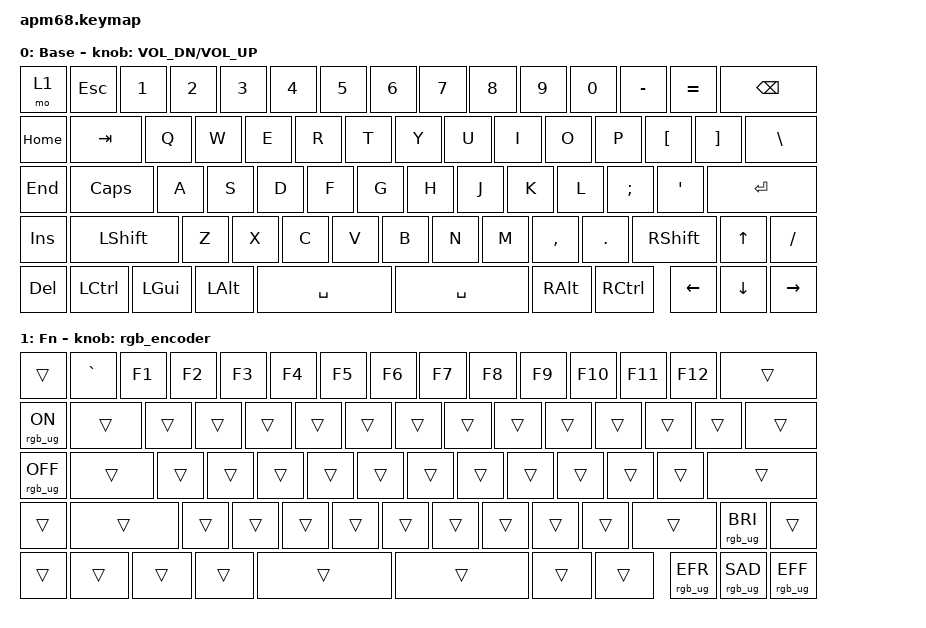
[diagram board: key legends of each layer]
#include <behaviors.dtsi>
#include <dt-bindings/zmk/keys.h>
#include <dt-bindings/zmk/rgb.h>

/ {
    behaviors {
        rgb_encoder: rgb_encoder {
            compatible = "zmk,behavior-sensor-rotate";
            #sensor-binding-cells = <0>;
            bindings = <&rgb_ug RGB_BRI>, <&rgb_ug RGB_BRD>;
        };
    };

    keymap {
        compatible = "zmk,keymap";

        base_layer {
            display-name = "Base";
            bindings = <
&mo 1     &kp ESC    &kp N1    &kp N2    &kp N3     &kp N4  &kp N5  &kp N6     &kp N7  &kp N8     &kp N9             &kp N0     &kp MINUS  &kp EQUAL  &kp BSPC
&kp HOME  &kp TAB    &kp Q     &kp W     &kp E      &kp R   &kp T   &kp Y      &kp U   &kp I      &kp O              &kp P      &kp LBKT   &kp RBKT   &kp BSLH
&kp END   &kp CLCK   &kp A     &kp S     &kp D      &kp F   &kp G   &kp H      &kp J   &kp K      &kp L              &kp SEMI   &kp SQT               &kp ENTER
&kp INS   &kp LSHFT  &kp Z     &kp X     &kp C      &kp V   &kp B   &kp N      &kp M   &kp COMMA  &kp DOT            &kp RSHFT             &kp UP     &kp FSLH
&kp DEL   &kp LCTRL  &kp LGUI  &kp LALT  &kp SPACE                  &kp SPACE          &kp RALT   &kp RIGHT_CONTROL             &kp LEFT   &kp DOWN   &kp RIGHT
            >;

            sensor-bindings = <&inc_dec_kp C_VOL_DN C_VOL_UP>;
        };

        fn_layer {
            display-name = "Fn";
            bindings = <
&trans           &kp GRAVE  &kp F1  &kp F2  &kp F3  &kp F4  &kp F5  &kp F6  &kp F7  &kp F8  &kp F9  &kp F10  &kp F11          &kp F12          &trans
&rgb_ug RGB_ON   &trans     &trans  &trans  &trans  &trans  &trans  &trans  &trans  &trans  &trans  &trans   &trans           &trans           &trans
&rgb_ug RGB_OFF  &trans     &trans  &trans  &trans  &trans  &trans  &trans  &trans  &trans  &trans  &trans   &trans                            &trans
&trans           &trans     &trans  &trans  &trans  &trans  &trans  &trans  &trans  &trans  &trans  &trans                    &rgb_ug RGB_BRI  &trans
&trans           &trans     &trans  &trans  &trans                  &trans          &trans  &trans           &rgb_ug RGB_EFR  &rgb_ug RGB_SAD  &rgb_ug RGB_EFF
            >;

            sensor-bindings = <&rgb_encoder>;
        };
    };
};
